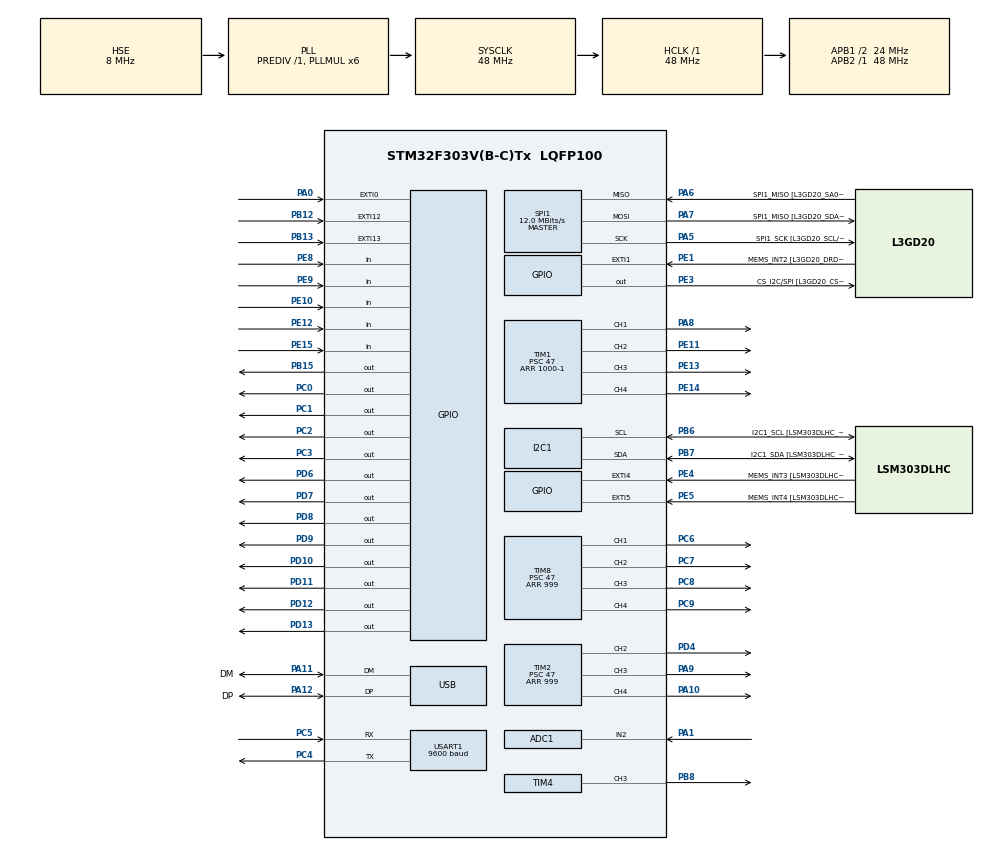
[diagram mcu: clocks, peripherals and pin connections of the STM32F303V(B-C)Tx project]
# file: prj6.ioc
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ADC1.Channel-0\#ChannelRegularConversion=ADC_CHANNEL_2
ADC1.ContinuousConvMode=DISABLE
ADC1.NbrOfConversionFlag=1
ADC1.Offset-0\#ChannelRegularConversion=0
ADC1.OffsetNumber-0\#ChannelRegularConversion=ADC_OFFSET_NONE
ADC1.Rank-0\#ChannelRegularConversion=1
ADC1.SamplingTime-0\#ChannelRegularConversion=ADC_SAMPLETIME_181CYCLES_5
ADC1.SamplingTimeOPAMP-0\#ChannelRegularConversion=ADC_SAMPLETIME_19CYCLES_5
ADC1.master=1
I2C1.Timing-I2C=0x2000090E
Mcu.Family=STM32F3
Mcu.Name=STM32F303V(B-C)Tx
Mcu.Package=LQFP100
NVIC.EXTI0_IRQn=true\:0\:0\:false\:false\:true\:true\:true\:true
NVIC.EXTI15_10_IRQn=true\:0\:0\:false\:false\:true\:true\:true\:true
NVIC.PriorityGroup=NVIC_PRIORITYGROUP_0
NVIC.TIM2_IRQn=true\:0\:0\:false\:false\:true\:true\:true\:true
NVIC.TIM4_IRQn=true\:0\:0\:false\:false\:true\:true\:true\:true
NVIC.TIM7_IRQn=true\:0\:0\:false\:false\:true\:true\:true\:true
NVIC.USART1_IRQn=true\:0\:0\:false\:false\:true\:true\:true\:true
PA0.Signal=GPXTI0
PA1.Mode=IN2-Single-Ended
PA1.Signal=ADC1_IN2
PA10.Signal=S_TIM2_CH4
PA11.GPIO_Label=DM
PA11.Mode=Device
PA11.Signal=USB_DM
PA12.GPIO_Label=DP
PA12.Mode=Device
PA12.Signal=USB_DP
PA13.GPIO_Label=SWDIO
PA13.Mode=Serial_Wire
PA13.Signal=SYS_JTMS-SWDIO
PA14.GPIO_Label=SWCLK
PA14.Mode=Serial_Wire
PA14.Signal=SYS_JTCK-SWCLK
PA5.GPIO_Label=SPI1_SCK [L3GD20_SCL/SPC]
PA5.Mode=Full_Duplex_Master
PA5.Signal=SPI1_SCK
PA6.GPIO_Label=SPI1_MISO [L3GD20_SA0/SDO]
PA6.Mode=Full_Duplex_Master
PA6.Signal=SPI1_MISO
PA7.GPIO_Label=SPI1_MISO [L3GD20_SDA/SDI/SDO]
PA7.Mode=Full_Duplex_Master
PA7.Signal=SPI1_MOSI
PA8.Signal=S_TIM1_CH1
PA9.Signal=S_TIM2_CH3
PB12.GPIO_PuPd=GPIO_PULLDOWN
PB12.Signal=GPXTI12
PB13.GPIO_ModeDefaultEXTI=GPIO_MODE_IT_RISING
PB13.GPIO_PuPd=GPIO_PULLDOWN
PB13.Signal=GPXTI13
PB15.Signal=GPIO_Output
PB3.GPIO_Label=SWO
PB3.Signal=SYS_JTDO-TRACESWO
PB6.GPIO_Label=I2C1_SCL [LSM303DLHC_SCL]
PB6.GPIO_Pu=GPIO_PULLUP
PB6.Mode=I2C
PB6.Signal=I2C1_SCL
PB7.GPIO_Label=I2C1_SDA [LSM303DLHC_SDA]
PB7.GPIO_Pu=GPIO_PULLUP
PB7.Mode=I2C
PB7.Signal=I2C1_SDA
PB8.Signal=S_TIM4_CH3
PC0.Signal=GPIO_Output
PC1.Signal=GPIO_Output
PC14-OSC32_IN.GPIO_Label=OSC32_IN
PC14-OSC32_IN.Signal=RCC_OSC32_IN
PC15-OSC32_OUT.GPIO_Label=OSC32_OUT
PC15-OSC32_OUT.Signal=RCC_OSC32_OUT
PC2.Signal=GPIO_Output
PC3.Signal=GPIO_Output
PC4.Mode=Asynchronous
PC4.Signal=USART1_TX
PC5.Mode=Asynchronous
PC5.Signal=USART1_RX
PC6.Signal=S_TIM8_CH1
PC7.Signal=S_TIM8_CH2
PC8.Signal=S_TIM8_CH3
PC9.Signal=S_TIM8_CH4
PD10.Signal=GPIO_Output
PD11.Signal=GPIO_Output
PD12.Signal=GPIO_Output
PD13.Signal=GPIO_Output
PD4.Signal=S_TIM2_CH2
PD6.Signal=GPIO_Output
PD7.Signal=GPIO_Output
PD8.Signal=GPIO_Output
PD9.Signal=GPIO_Output
PE1.GPIO_Label=MEMS_INT2 [L3GD20_DRDY/INT2]
PE1.GPIO_ModeDefaultEXTI=GPIO_MODE_EVT_RISING
PE1.Signal=GPXTI1
PE10.Signal=GPIO_Input
PE11.Signal=S_TIM1_CH2
PE12.Signal=GPIO_Input
PE13.Signal=S_TIM1_CH3
PE14.Signal=S_TIM1_CH4
PE15.Signal=GPIO_Input
PE3.GPIO_Label=CS_I2C/SPI [L3GD20_CS_I2C/SPI]
PE3.Signal=GPIO_Output
PE4.GPIO_Label=MEMS_INT3 [LSM303DLHC_INT1]
PE4.GPIO_ModeDefaultEXTI=GPIO_MODE_EVT_RISING
PE4.Signal=GPXTI4
PE5.GPIO_Label=MEMS_INT4 [LSM303DLHC_INT2]
PE5.GPIO_ModeDefaultEXTI=GPIO_MODE_EVT_RISING
PE5.Signal=GPXTI5
PE8.Signal=GPIO_Input
PE9.Signal=GPIO_Input
PF0-OSC_IN.GPIO_Label=OSC_IN
PF0-OSC_IN.Mode=HSE-External-Clock-Source
PF0-OSC_IN.Signal=RCC_OSC_IN
PF1-OSC_OUT.GPIO_Label=OSC_OUT
PF1-OSC_OUT.Signal=RCC_OSC_OUT
ProjectManager.HeapSize=0x200
ProjectManager.StackSize=0x400
ProjectManager.TargetToolchain=STM32CubeIDE
RCC.AHBFreq_Value=48000000
RCC.APB1CLKDivider=RCC_HCLK_DIV2
RCC.APB1Freq_Value=24000000
RCC.APB1TimFreq_Value=48000000
RCC.APB2Freq_Value=48000000
RCC.APB2TimFreq_Value=48000000
RCC.CortexFreq_Value=48000000
RCC.HCLKFreq_Value=48000000
RCC.HSE_VALUE=8000000
RCC.HSI_VALUE=8000000
RCC.LSE_VALUE=32768
RCC.PLLMUL=RCC_PLL_MUL6
RCC.SYSCLKFreq_VALUE=48000000
RCC.SYSCLKSourceVirtual=RCC_SYSCLKSOURCE_PLLCLK
RCC.USBFreq_Value=48000000
SH.S_TIM1_CH1.0=TIM1_CH1,PWM Generation1 CH1
SH.S_TIM1_CH2.0=TIM1_CH2,PWM Generation2 CH2
SH.S_TIM1_CH3.0=TIM1_CH3,PWM Generation3 CH3
SH.S_TIM1_CH4.0=TIM1_CH4,PWM Generation4 CH4
SH.S_TIM2_CH2.0=TIM2_CH2,PWM Generation2 CH2
SH.S_TIM2_CH3.0=TIM2_CH3,PWM Generation3 CH3
SH.S_TIM2_CH4.0=TIM2_CH4,PWM Generation4 CH4
SH.S_TIM4_CH3.0=TIM4_CH3,PWM Generation3 CH3
SH.S_TIM8_CH1.0=TIM8_CH1,PWM Generation1 CH1
SH.S_TIM8_CH2.0=TIM8_CH2,PWM Generation2 CH2
SH.S_TIM8_CH3.0=TIM8_CH3,PWM Generation3 CH3
SH.S_TIM8_CH4.0=TIM8_CH4,PWM Generation4 CH4
SPI1.BaudRatePrescaler=SPI_BAUDRATEPRESCALER_4
SPI1.BaudRatePrescaler-Full_Duplex_Master=SPI_BAUDRATEPRESCALER_2
SPI1.CalculateBaudRate=12.0 MBits/s
SPI1.CalculateBaudRate-Full_Duplex_Master=24.0 MBits/s
SPI1.Direction=SPI_DIRECTION_2LINES
SPI1.Mode=SPI_MODE_MASTER
SPI1.Mode-Full_Duplex_Master=SPI_MODE_MASTER
SPI1.VirtualType=VM_MASTER
TIM1.Channel-PWM\ Generation1\ CH1=TIM_CHANNEL_1
TIM1.Channel-PWM\ Generation2\ CH2=TIM_CHANNEL_2
TIM1.Channel-PWM\ Generation3\ CH3=TIM_CHANNEL_3
TIM1.Channel-PWM\ Generation4\ CH4=TIM_CHANNEL_4
TIM1.Period=1000-1
TIM1.Prescaler=47
TIM2.Channel-PWM\ Generation2\ CH2=TIM_CHANNEL_2
TIM2.Channel-PWM\ Generation3\ CH3=TIM_CHANNEL_3
TIM2.Channel-PWM\ Generation4\ CH4=TIM_CHANNEL_4
TIM2.Period=999
TIM2.Prescaler=47
TIM4.Channel-PWM\ Generation3\ CH3=TIM_CHANNEL_3
TIM7.Period=100 -1
TIM7.Prescaler=48 -1
TIM8.Channel-PWM\ Generation1\ CH1=TIM_CHANNEL_1
TIM8.Channel-PWM\ Generation2\ CH2=TIM_CHANNEL_2
TIM8.Channel-PWM\ Generation3\ CH3=TIM_CHANNEL_3
TIM8.Channel-PWM\ Generation4\ CH4=TIM_CHANNEL_4
TIM8.Period=999
TIM8.Prescaler=47
USART1.BaudRate=9600
USART1.VirtualMode-Asynchronous=VM_ASYNC
VP_TIM1_VS_ClockSourceINT.Mode=Internal
VP_TIM2_VS_ClockSourceINT.Mode=Internal
VP_TIM3_VS_ClockSourceINT.Mode=Internal
VP_TIM4_VS_ClockSourceINT.Mode=Internal
VP_TIM7_VS_ClockSourceINT.Mode=Enable_Timer
VP_TIM8_VS_ClockSourceINT.Mode=Internal
board=STM32F3DISCOVERY

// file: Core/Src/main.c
/* USER CODE BEGIN Header */
/**
 ******************************************************************************
 * @file           : main.c
 * @brief          : Main program body
 ******************************************************************************
 * @attention
 *
 * Copyright (c) 2024 STMicroelectronics.
 * All rights reserved.
 *
 * This software is licensed under terms that can be found in the LICENSE file
 * in the root directory of this software component.
 * If no LICENSE file comes with this software, it is provided AS-IS.
 *
 ******************************************************************************
 */
/* USER CODE END Header */
#include "main.h"

/* USER CODE BEGIN Includes */
#include "string.h"
#include "stdio.h"
#include "math.h"

#define SINE_TABLE_SIZE 256
#define PI 3.14159265358979323846

#define NOTE_B0  31
#define NOTE_C1  33
#define NOTE_CS1 35
#define NOTE_D1  37
#define NOTE_DS1 39
#define NOTE_E1  41
#define NOTE_F1  44
#define NOTE_FS1 46
#define NOTE_G1  49
#define NOTE_GS1 52
#define NOTE_A1  55
#define NOTE_AS1 58
#define NOTE_B1  62
#define NOTE_C2  65
#define NOTE_CS2 69
#define NOTE_D2  73
#define NOTE_DS2 78
#define NOTE_E2  82
#define NOTE_F2  87
#define NOTE_FS2 93
#define NOTE_G2  98
#define NOTE_GS2 104
#define NOTE_A2  110
#define NOTE_AS2 117
#define NOTE_B2  123
#define NOTE_C3  131
#define NOTE_CS3 139
#define NOTE_D3  147
#define NOTE_DS3 156
#define NOTE_E3  165
#define NOTE_F3  175
#define NOTE_FS3 185
#define NOTE_G3  196
#define NOTE_GS3 208
#define NOTE_A3  220
#define NOTE_AS3 233
#define NOTE_B3  247
#define NOTE_C4  262
#define NOTE_CS4 277
#define NOTE_D4  294
#define NOTE_DS4 311
#define NOTE_E4  330
#define NOTE_F4  349
#define NOTE_FS4 370
#define NOTE_G4  392
#define NOTE_GS4 415
#define NOTE_A4  440
#define NOTE_AS4 466
#define NOTE_B4  494
#define NOTE_C5  523
#define NOTE_CS5 554
#define NOTE_D5  587
#define NOTE_DS5 622
#define NOTE_E5  659
#define NOTE_F5  698
#define NOTE_FS5 740
#define NOTE_G5  784
#define NOTE_GS5 831
#define NOTE_A5  880
#define NOTE_AS5 932
#define NOTE_B5  988
#define NOTE_C6  1047
#define NOTE_CS6 1109
#define NOTE_D6  1175
#define NOTE_DS6 1245
#define NOTE_E6  1319
#define NOTE_F6  1397
#define NOTE_FS6 1480
#define NOTE_G6  1568
#define NOTE_GS6 1661
#define NOTE_A6  1760
#define NOTE_AS6 1865
#define NOTE_B6  1976
#define NOTE_C7  2093
#define NOTE_CS7 2217
#define NOTE_D7  2349
#define NOTE_DS7 2489
#define NOTE_E7  2637
#define NOTE_F7  2794
#define NOTE_FS7 2960
#define NOTE_G7  3136
#define NOTE_GS7 3322
#define NOTE_A7  3520
#define NOTE_AS7 3729
#define NOTE_B7  3951
#define NOTE_C8  4186
#define NOTE_CS8 4435
#define NOTE_D8  4699
#define NOTE_DS8 4978
#define REST      0

// happy birthday
#define NOTE_B0  31
#define NOTE_C1  33
#define NOTE_CS1 35
#define NOTE_D1  37
#define NOTE_DS1 39
#define NOTE_E1  41
#define NOTE_F1  44
#define NOTE_FS1 46
#define NOTE_G1  49
#define NOTE_GS1 52
#define NOTE_A1  55
#define NOTE_AS1 58
#define NOTE_B1  62
#define NOTE_C2  65
#define NOTE_CS2 69
#define NOTE_D2  73
#define NOTE_DS2 78
#define NOTE_E2  82
#define NOTE_F2  87
#define NOTE_FS2 93
#define NOTE_G2  98
#define NOTE_GS2 104
#define NOTE_A2  110
#define NOTE_AS2 117
#define NOTE_B2  123
#define NOTE_C3  131
#define NOTE_CS3 139
#define NOTE_D3  147
#define NOTE_DS3 156
#define NOTE_E3  165
#define NOTE_F3  175
#define NOTE_FS3 185
#define NOTE_G3  196
#define NOTE_GS3 208
#define NOTE_A3  220
#define NOTE_AS3 233
#define NOTE_B3  247
#define NOTE_C4  262
#define NOTE_CS4 277
#define NOTE_D4  294
#define NOTE_DS4 311
#define NOTE_E4  330
#define NOTE_F4  349
#define NOTE_FS4 370
#define NOTE_G4  392
#define NOTE_GS4 415
#define NOTE_A4  440
#define NOTE_AS4 466
#define NOTE_B4  494
#define NOTE_C5  523
#define NOTE_CS5 554
#define NOTE_D5  587
#define NOTE_DS5 622
#define NOTE_E5  659
#define NOTE_F5  698
#define NOTE_FS5 740
#define NOTE_G5  784
#define NOTE_GS5 831
#define NOTE_A5  880
#define NOTE_AS5 932
#define NOTE_B5  988
#define NOTE_C6  1047
#define NOTE_CS6 1109
#define NOTE_D6  1175
#define NOTE_DS6 1245
#define NOTE_E6  1319
#define NOTE_F6  1397
#define NOTE_FS6 1480
#define NOTE_G6  1568
#define NOTE_GS6 1661
#define NOTE_A6  1760
#define NOTE_AS6 1865
#define NOTE_B6  1976
#define NOTE_C7  2093
#define NOTE_CS7 2217
#define NOTE_D7  2349
#define NOTE_DS7 2489
#define NOTE_E7  2637
#define NOTE_F7  2794
#define NOTE_FS7 2960
#define NOTE_G7  3136
#define NOTE_GS7 3322
#define NOTE_A7  3520
#define NOTE_AS7 3729
#define NOTE_B7  3951
#define NOTE_C8  4186
#define NOTE_CS8 4435
#define NOTE_D8  4699
#define NOTE_DS8 4978
#define REST      0

/* USER CODE END Includes */

ADC_HandleTypeDef hadc1;

I2C_HandleTypeDef hi2c1;

SPI_HandleTypeDef hspi1;

TIM_HandleTypeDef htim1;
TIM_HandleTypeDef htim2;
TIM_HandleTypeDef htim3;
TIM_HandleTypeDef htim4;
TIM_HandleTypeDef htim7;
TIM_HandleTypeDef htim8;

UART_HandleTypeDef huart1;

PCD_HandleTypeDef hpcd_USB_FS;

void SystemClock_Config(void);
static void MX_GPIO_Init(void);
static void MX_I2C1_Init(void);
static void MX_SPI1_Init(void);
static void MX_USB_PCD_Init(void);
static void MX_USART1_UART_Init(void);
static void MX_TIM1_Init(void);
static void MX_TIM7_Init(void);
static void MX_TIM3_Init(void);
static void MX_ADC1_Init(void);
static void MX_TIM8_Init(void);
static void MX_TIM2_Init(void);
static void MX_TIM4_Init(void);

/* USER CODE BEGIN 0 */
void off() {
	HAL_GPIO_WritePin(GPIOC, GPIO_PIN_0, SET);
	HAL_GPIO_WritePin(GPIOC, GPIO_PIN_3, SET);
	HAL_GPIO_WritePin(GPIOD, GPIO_PIN_7, SET);
	HAL_GPIO_WritePin(GPIOD, GPIO_PIN_6, SET);

	HAL_GPIO_WritePin(GPIOC, GPIO_PIN_1, RESET);
	HAL_GPIO_WritePin(GPIOC, GPIO_PIN_2, RESET);
	HAL_GPIO_WritePin(GPIOD, GPIO_PIN_8, RESET);
	HAL_GPIO_WritePin(GPIOD, GPIO_PIN_9, RESET);

}

void show_0() {
	HAL_GPIO_WritePin(GPIOD, GPIO_PIN_8, RESET);
	HAL_GPIO_WritePin(GPIOD, GPIO_PIN_9, RESET);
	HAL_GPIO_WritePin(GPIOC, GPIO_PIN_1, RESET);
	HAL_GPIO_WritePin(GPIOC, GPIO_PIN_2, RESET);

}
void show_1() {
	HAL_GPIO_WritePin(GPIOD, GPIO_PIN_8, RESET);
	HAL_GPIO_WritePin(GPIOD, GPIO_PIN_9, RESET);
	HAL_GPIO_WritePin(GPIOC, GPIO_PIN_1, SET);
	HAL_GPIO_WritePin(GPIOC, GPIO_PIN_2, RESET);
}
void show_2() {
	HAL_GPIO_WritePin(GPIOD, GPIO_PIN_8, SET);
	HAL_GPIO_WritePin(GPIOD, GPIO_PIN_9, RESET);
	HAL_GPIO_WritePin(GPIOC, GPIO_PIN_1, RESET);
	HAL_GPIO_WritePin(GPIOC, GPIO_PIN_2, RESET);
}
void show_3() {
	HAL_GPIO_WritePin(GPIOD, GPIO_PIN_8, SET);
	HAL_GPIO_WritePin(GPIOD, GPIO_PIN_9, RESET);
	HAL_GPIO_WritePin(GPIOC, GPIO_PIN_1, SET);
	HAL_GPIO_WritePin(GPIOC, GPIO_PIN_2, RESET);

}
void show_4() {
	HAL_GPIO_WritePin(GPIOD, GPIO_PIN_8, RESET);
	HAL_GPIO_WritePin(GPIOD, GPIO_PIN_9, SET);
	HAL_GPIO_WritePin(GPIOC, GPIO_PIN_1, RESET);
	HAL_GPIO_WritePin(GPIOC, GPIO_PIN_2, RESET);
}
void show_5() {
	HAL_GPIO_WritePin(GPIOD, GPIO_PIN_8, RESET);
	HAL_GPIO_WritePin(GPIOD, GPIO_PIN_9, SET);
	HAL_GPIO_WritePin(GPIOC, GPIO_PIN_1, SET);
	HAL_GPIO_WritePin(GPIOC, GPIO_PIN_2, RESET);
}
void show_6() {
	HAL_GPIO_WritePin(GPIOD, GPIO_PIN_8, SET);
	HAL_GPIO_WritePin(GPIOD, GPIO_PIN_9, SET);
	HAL_GPIO_WritePin(GPIOC, GPIO_PIN_1, RESET);
	HAL_GPIO_WritePin(GPIOC, GPIO_PIN_2, RESET);
}
void show_7() {
	HAL_GPIO_WritePin(GPIOD, GPIO_PIN_8, SET);
	HAL_GPIO_WritePin(GPIOD, GPIO_PIN_9, SET);
	HAL_GPIO_WritePin(GPIOC, GPIO_PIN_1, SET);
	HAL_GPIO_WritePin(GPIOC, GPIO_PIN_2, RESET);
}
void show_8() {
	HAL_GPIO_WritePin(GPIOD, GPIO_PIN_8, RESET);
	HAL_GPIO_WritePin(GPIOD, GPIO_PIN_9, RESET);
	HAL_GPIO_WritePin(GPIOC, GPIO_PIN_1, RESET);
	HAL_GPIO_WritePin(GPIOC, GPIO_PIN_2, SET);
}
void show_9() {
	HAL_GPIO_WritePin(GPIOD, GPIO_PIN_8, RESET);
	HAL_GPIO_WritePin(GPIOD, GPIO_PIN_9, RESET);
	HAL_GPIO_WritePin(GPIOC, GPIO_PIN_1, SET);
	HAL_GPIO_WritePin(GPIOC, GPIO_PIN_2, SET);
}
void reset() {
	off();
	HAL_GPIO_WritePin(GPIOC, GPIO_PIN_0, RESET);
	show_0();
	HAL_GPIO_WritePin(GPIOC, GPIO_PIN_3, RESET);
	show_0();
	HAL_GPIO_WritePin(GPIOD, GPIO_PIN_6, RESET);
	show_0();
	HAL_GPIO_WritePin(GPIOD, GPIO_PIN_7, RESET);
	show_0();
}

void led_off() {
	TIM1->CCR2 = 0;
	TIM1->CCR3 = 0;
	TIM2->CCR2 = 0;
	TIM8->CCR4 = 0;
	TIM8->CCR1 = 0;
	TIM8->CCR2 = 0;
	TIM8->CCR3 = 0;
	TIM1->CCR4 = 0;
	TIM2->CCR4 = 0;
	TIM2->CCR3 = 0;
	TIM1->CCR1 = 0;
}
typedef void (*func_ptr)();
func_ptr functionArray[10] = { show_0, show_1, show_2, show_3, show_4, show_5,
		show_6, show_7, show_8, show_9 };
int mood_g = 0;

int melody[] = {
NOTE_AS4, 8, NOTE_AS4, 8, NOTE_AS4,
		8, //1
		NOTE_F5, 2, NOTE_C6, 2,
		NOTE_AS5, 8, NOTE_A5, 8, NOTE_G5, 8, NOTE_F6, 2, NOTE_C6, 4,
		NOTE_AS5, 8, NOTE_A5, 8, NOTE_G5, 8, NOTE_F6, 2, NOTE_C6, 4,
		NOTE_AS5, 8, NOTE_A5, 8, NOTE_AS5, 8, NOTE_G5, 2, NOTE_C5, 8, NOTE_C5,
		8, NOTE_C5, 8,
		NOTE_F5, 2, NOTE_C6, 2,
		NOTE_AS5, 8, NOTE_A5, 8, NOTE_G5, 8, NOTE_F6, 2, NOTE_C6, 4,

		NOTE_AS5, 8, NOTE_A5, 8, NOTE_G5, 8, NOTE_F6, 2, NOTE_C6,
		4, //8
		NOTE_AS5, 8, NOTE_A5, 8, NOTE_AS5, 8, NOTE_G5, 2, NOTE_C5, -8, NOTE_C5,
		16,
		NOTE_D5, -4, NOTE_D5, 8, NOTE_AS5, 8, NOTE_A5, 8, NOTE_G5, 8, NOTE_F5,
		8,
		NOTE_F5, 8, NOTE_G5, 8, NOTE_A5, 8, NOTE_G5, 4, NOTE_D5, 8, NOTE_E5, 4,
		NOTE_C5, -8, NOTE_C5, 16,
		NOTE_D5, -4, NOTE_D5, 8, NOTE_AS5, 8, NOTE_A5, 8, NOTE_G5, 8, NOTE_F5,
		8,

		NOTE_C6, -8,
		NOTE_G5, 16,
		NOTE_G5, 2,
		REST, 8,
		NOTE_C5, 8,
		NOTE_D5, -4, NOTE_D5, 8, NOTE_AS5, 8, NOTE_A5, 8, NOTE_G5, 8, NOTE_F5,
		8,
		NOTE_F5, 8, NOTE_G5, 8, NOTE_A5, 8, NOTE_G5, 4, NOTE_D5, 8, NOTE_E5, 4,
		NOTE_C6, -8, NOTE_C6, 16,
		NOTE_F6, 4, NOTE_DS6, 8, NOTE_CS6, 4, NOTE_C6, 8, NOTE_AS5, 4, NOTE_GS5,
		8, NOTE_G5, 4, NOTE_F5, 8,
		NOTE_C6, 1

};
int noteDurations[] = { 500, 500, 500, 1000, 1000, 500, 500, 500, 1000, 500,
		500, 500, 500, 1000, 500, 500, 500, 500, 1000, 500, 500, 500, 1000,
		1000, 500, 500, 500, 1000, 500, 500, 500, 500, 1000, 500, 500, 500, 500,
		1000, 500, 500, 750, 500, 500, 500, 500, 500, 500, 500, 500, 500, 500,
		500, 750, 500, 750, 500, 500, 500, 500, 500, 1500, 500, 500, 250, 500,
		750, 500, 500, 500, 500, 500, 500, 500, 500, 500, 500, 500, 750, 500,
		1000, 500, 500, 500, 500, 500, 500, 500, 2000 };

void playTone(uint16_t frequency, uint32_t duration) {
	uint32_t period = HAL_RCC_GetPCLK1Freq() / (htim4.Init.Prescaler + 1)
			/ frequency - 1;
	__HAL_TIM_SET_AUTORELOAD(&htim4, period);
	__HAL_TIM_SET_COMPARE(&htim4, TIM_CHANNEL_3, period / 2);
	uint32_t startTick = HAL_GetTick();
	while ((HAL_GetTick() - startTick) < duration * 0.9) { // Wait for 90% of the duration
	}
	__HAL_TIM_SET_COMPARE(&htim4, TIM_CHANNEL_3, 0); // Turn off the sound
	startTick = HAL_GetTick();
	while ((HAL_GetTick() - startTick) < duration * 0.1) {
		// Short delay between notes

	}
}

// happy birth day
int melody_2[] = {

// Happy Birthday
// Score available at https://musescore.com/user/8221/scores/26906

		NOTE_C4, 4, NOTE_C4, 8,
		NOTE_D4, -4, NOTE_C4, -4, NOTE_F4, -4,
		NOTE_E4, -2, NOTE_C4, 4, NOTE_C4, 8,
		NOTE_D4, -4, NOTE_C4, -4, NOTE_G4, -4,
		NOTE_F4, -2, NOTE_C4, 4, NOTE_C4, 8,

		NOTE_C5, -4, NOTE_A4, -4, NOTE_F4, -4,
		NOTE_E4, -4, NOTE_D4, -4, NOTE_AS4, 4, NOTE_AS4, 8,
		NOTE_A4, -4, NOTE_F4, -4, NOTE_G4, -4,
		NOTE_F4, -2,

};

int noteDurations_2[] = { 250, 125, 375, 375, 375, 750, 250, 125, 375, 375, 375,
		750, 250, 125, 375, 375, 375, 375, 375, 250, 125, 375, 375, 375, 1500 };

void playTone_2(uint16_t frequency, uint32_t duration) {
	uint32_t period = HAL_RCC_GetPCLK1Freq() / (htim4.Init.Prescaler + 1)
			/ frequency - 1;
	__HAL_TIM_SET_AUTORELOAD(&htim4, period);
	__HAL_TIM_SET_COMPARE(&htim4, TIM_CHANNEL_3, period / 2);

	uint32_t startTick = HAL_GetTick();

	while ((HAL_GetTick() - startTick) < (duration * 0.9)) {

	}

	__HAL_TIM_SET_COMPARE(&htim4, TIM_CHANNEL_3, 0);

	startTick = HAL_GetTick();

	while ((HAL_GetTick() - startTick) < (duration * 0.1)) {

	}
}

char username[6];
int password[4];
int T_G[4];
int t_g = 0;
int D_G[4];
int d_g = 0;
int security_check = 0;

void get_user() {
	char user2[6];
	HAL_UART_Transmit(&huart1, "\nusername : ", strlen("\nusername : "),
	HAL_MAX_DELAY);
	HAL_UART_Receive(&huart1, user2, 6, HAL_MAX_DELAY);
	strcpy(username, user2);
	HAL_UART_Transmit(&huart1, username, 6, HAL_MAX_DELAY);
	if (username[0] == 'm') {
		HAL_UART_Transmit(&huart1, 'm', 1, HAL_MAX_DELAY);
	}
}

void get_pass() {
	char pass2[4];
	HAL_UART_Transmit(&huart1, "\npassword : ", strlen("\npassword : "),
	HAL_MAX_DELAY);
	HAL_UART_Receive(&huart1, pass2, 4, HAL_MAX_DELAY);
	for (int i = 0; i < 4; i++) {
		password[i] = pass2[i] - '0';
	}
	if (password[0] == 1) {
		HAL_UART_Transmit(&huart1, "hi", strlen("hi"), HAL_MAX_DELAY);
	}

}
void get_T_D() {
	char t1[4];
	char d1[4];
	HAL_UART_Transmit(&huart1, "\nT : ", strlen("\nT : "), HAL_MAX_DELAY);
	HAL_UART_Receive(&huart1, t1, 4, HAL_MAX_DELAY);
	for (int i = 0; i < 4; i++) {
		T_G[i] = t1[i] - '0';
		t_g = T_G[i] * pow(10, (3 - i)) + t_g;

	}
	if (T_G[0] == 2) {
		HAL_UART_Transmit(&huart1, "heyy", strlen("heyy"), HAL_MAX_DELAY);
	}
	HAL_UART_Transmit(&huart1, "\nD : ", strlen("\nD : "), HAL_MAX_DELAY);
	HAL_UART_Receive(&huart1, d1, 4, HAL_MAX_DELAY);
	for (int i = 0; i < 4; i++) {
		D_G[i] = d1[i] - '0';
		d_g = D_G[i] * pow(10, (3 - i)) + d_g;

	}
	if (D_G[0] == 3) {
		HAL_UART_Transmit(&huart1, "noice", strlen("noice"), HAL_MAX_DELAY);
	}
}
void check_user() {
	char user2[6];
	char user_check[6];
	int j = 0;
	HAL_UART_Transmit(&huart1, "\nusername : ", strlen("\nusername : "),
	HAL_MAX_DELAY);
	HAL_UART_Receive(&huart1, user2, 6, HAL_MAX_DELAY);
	strcpy(user_check, user2);
	for (int i = 0; i < 6; i++) {
		if (user_check[i] != username[i]) {
			HAL_UART_Transmit(&huart1, "\nwrong username! ",
					strlen("\nwrong username! "),
					HAL_MAX_DELAY);
			j = -1;
			break;
		} else {
			j++;
		}

	}
	if (j == -1) {
		check_user();
	} else if (j == 6) {
		HAL_UART_Transmit(&huart1, "\nWelcom ", strlen("\nWelcom "),
		HAL_MAX_DELAY);
		security_check++;
	}
}

void check_pass() {
	char pass2[4];
	char pass_check[4];
	int j = 0;
	HAL_UART_Transmit(&huart1, "\npassword : ", strlen("\npassword : "),
	HAL_MAX_DELAY);
	HAL_UART_Receive(&huart1, pass2, 4, HAL_MAX_DELAY);
	for (int i = 0; i < 4; i++) {
		pass_check[i] = pass2[i] - '0';
	}
	for (int i = 0; i < 4; i++) {
		if (pass_check[i] != password[i]) {
			HAL_UART_Transmit(&huart1, "\nwrong password ",
					strlen("\nwrong password "),
					HAL_MAX_DELAY);
			j = -1;
			break;
		} else {

			j++;
		}
	}
	if (j == -1) {
		check_pass();
	} else if (j == 4) {
		HAL_UART_Transmit(&huart1, "\nWelcome ", strlen("\nWelcome "),
		HAL_MAX_DELAY);
		security_check++;

	}

}

TIM_HandleTypeDef *buzzerPwmTimer;
uint32_t buzzerPwmChannel;

void buzzerInit() {
	buzzerPwmTimer = &htim4;
	buzzerPwmChannel = TIM_CHANNEL_3;
	HAL_TIM_PWM_Start(buzzerPwmTimer, buzzerPwmChannel);
}

void buzzerChangeTone(uint16_t freq, uint16_t volume) {
	if (freq == 0 || freq > 20000) {
		__HAL_TIM_SET_COMPARE(buzzerPwmTimer, buzzerPwmChannel, 0);
	} else {
		const uint32_t internalClockFreq = HAL_RCC_GetSysClockFreq();
		const uint32_t prescaler = 1 + internalClockFreq / freq / 60000;
		const uint32_t timerClock = internalClockFreq / prescaler;
		const uint32_t periodCycles = timerClock / freq;
		const uint32_t pulseWidth = volume * periodCycles / 1000 / 2;

		buzzerPwmTimer->Instance->PSC = prescaler - 1;
		buzzerPwmTimer->Instance->ARR = periodCycles - 1;
		buzzerPwmTimer->Instance->EGR = TIM_EGR_UG;

		__HAL_TIM_SET_COMPARE(buzzerPwmTimer, buzzerPwmChannel, pulseWidth);
	}
}

TIM_HandleTypeDef htim4;
uint32_t period = 0;

void initTimerPWM(void) {
	__HAL_RCC_TIM1_CLK_ENABLE();

	htim4.Instance = TIM4;
	htim4.Init.Prescaler = 79; // Adjust prescaler as needed
	htim4.Init.CounterMode = TIM_COUNTERMODE_UP;
	htim4.Init.Period = period; // Initial period value
	htim4.Init.ClockDivision = TIM_CLOCKDIVISION_DIV1;
	htim4.Init.RepetitionCounter = 0;
	HAL_TIM_PWM_Init(&htim4);

	TIM_OC_InitTypeDef sConfigOC;
	sConfigOC.OCMode = TIM_OCMODE_PWM1;
	sConfigOC.Pulse = period / 2; // Initial pulse value
	sConfigOC.OCPolarity = TIM_OCPOLARITY_HIGH;
	sConfigOC.OCFastMode = TIM_OCFAST_DISABLE;
	HAL_TIM_PWM_ConfigChannel(&htim4, &sConfigOC, TIM_CHANNEL_3);

	HAL_TIM_PWM_Start(&htim4, TIM_CHANNEL_3);
}
void HAL_TIM_PeriodElapsedCallback(TIM_HandleTypeDef *htim) {
	if (htim->Instance == TIM4) {
		static uint8_t direction = 0;
		if (direction == 0) {
			period += 10; // Increase frequency
			if (period > 1000)
				direction = 1;
		} else {
			period -= 10; // Decrease frequency
			if (period < 500)
				direction = 0;
		}
		__HAL_TIM_SET_AUTORELOAD(&htim4, period);
		__HAL_TIM_SET_COMPARE(&htim4, TIM_CHANNEL_3, period / 2);
	}
}

char c_mood[14];
char check_u[20];
char pass_u[4];
int s;
int illegal = 0;
int music = 0;
int first_mood1 = 0;
int first_mood2 = 0;
int first_mood3 = 0;
int stop_flag = 0 ;

void HAL_UART_RxCpltCallback(UART_HandleTypeDef *huart) {
	if (huart->Instance == USART1) {

		if (mood_g == 1) {
			HAL_UART_Transmit(huart, "ok\n", strlen("ok\n"),
			HAL_MAX_DELAY);
			mood_g = c_mood[12] - '0';

		}
		if (mood_g == 2) {
			if (illegal == 0) {
				HAL_UART_Transmit(huart, "ok\n", strlen("ok\n"),
				HAL_MAX_DELAY);
				mood_g = c_mood[12] - '0';

			}

		}
		if (mood_g == 3) {
			first_mood3++;
			if (first_mood3 > 1) {
				HAL_UART_Transmit(huart, "no shit \n", strlen("no shit \n"),
				HAL_MAX_DELAY);
				char c_mood_2[14];
				strcpy(c_mood_2, c_mood);
				if (c_mood_2[7] == 'm') {
					HAL_UART_Transmit(huart, "nice shit \n",
							strlen("nice shit \n"), HAL_MAX_DELAY);
					mood_g = c_mood[12] - '0';
				}
				if (c_mood_2[7] == 'n') {
					HAL_UART_Transmit(huart, "nice job \n",
							strlen("nice job \n"), HAL_MAX_DELAY);
					music = c_mood[12] - '0';

					stop_flag = 0 ;
				}

			}

		}

	}
}

void song2() {
	initTimerPWM();
	int notes = sizeof(melody_2) / sizeof(melody_2[0]);
	for (int thisNote = 0; thisNote < notes; thisNote++) {
		uint16_t note = melody_2[thisNote];
		uint32_t duration = noteDurations_2[thisNote];
		if (note != REST) {
			playTone(note, duration);
		} else {
			HAL_Delay(duration);
		}

	}

}

uint32_t lastBut_13 = 0;
int mood_13 = 0;
uint32_t lastBut_12 = 0;
int mood_12 = 0;
uint32_t lastBut_0 = 0;
int mood_0 = 0;
uint32_t last_blue = 0;

int sum_LED = 0;
int on_led[3];
void HAL_GPIO_EXTI_Callback(uint16_t GPIO_Pin) {
	if (mood_g == 1) {
		if (GPIO_Pin == GPIO_PIN_0) {
			if (HAL_GPIO_ReadPin(GPIOB, GPIO_PIN_0) == GPIO_PIN_SET) {
				if (HAL_GetTick() - lastBut_0 > 400) {
					if (mood_0 % 3 == 0) {
						TIM2->CCR4 = 0;
						on_led[0] = 0;
					}
					if (mood_0 % 3 == 1) {
						TIM2->CCR4 = 200;
						on_led[0] = 1;
					}
					if (mood_0 % 3 == 2) {
						TIM2->CCR4 = 1000;
						on_led[0] = 1;
					}
					lastBut_0 = HAL_GetTick();
					mood_0++;
				}
			}
		}

		if (GPIO_Pin == GPIO_PIN_13) {

			if (HAL_GPIO_ReadPin(GPIOB, GPIO_PIN_13) == GPIO_PIN_SET) {
				if (HAL_GetTick() - lastBut_13 > 400) {
					if (mood_13 % 3 == 0) {
						TIM2->CCR3 = 0;
						on_led[1] = 0;
					}
					if (mood_13 % 3 == 1) {
						TIM2->CCR3 = 200;
						on_led[1] = 1;
					}
					if (mood_13 % 3 == 2) {
						TIM2->CCR3 = 1000;
						on_led[1] = 1;
					}
					lastBut_13 = HAL_GetTick();
					mood_13++;

				}

			}
		}

		if (GPIO_Pin == GPIO_PIN_12) {
			if (HAL_GPIO_ReadPin(GPIOB, GPIO_PIN_12) == GPIO_PIN_SET) {
				if (HAL_GetTick() - lastBut_12 > 400) {
					if (mood_12 % 3 == 0) {
						TIM1->CCR1 = 0;
						on_led[2] = 0;
					}
					if (mood_12 % 3 == 1) {
						TIM1->CCR1 = 200;
						on_led[2] = 1;
					}
					if (mood_12 % 3 == 2) {
						TIM1->CCR1 = 1000;
						on_led[2] = 1;
					}
					lastBut_12 = HAL_GetTick();
					mood_12++;
				}

			}
		}
		sum_LED = on_led[0] + on_led[1] + on_led[2];
	}
	if (mood_g == 2) {
		if (GPIO_Pin == GPIO_PIN_13) {
			if (HAL_GPIO_ReadPin(GPIOB, GPIO_PIN_13) == GPIO_PIN_SET) {
				if (HAL_GetTick() - last_blue > 400) {
					illegal = 1;
					TIM1->CCR3 = 1000;
					last_blue = HAL_GetTick();
				}
			}
		}

	}
}

/* USER CODE END 0 */

int main(void) {

	/* MCU Configuration--------------------------------------------------------*/

	/* Reset of all peripherals, Initializes the Flash interface and the Systick. */
	HAL_Init();

	/* Configure the system clock */
	SystemClock_Config();

	/* Initialize all configured peripherals */
	MX_GPIO_Init();
	MX_I2C1_Init();
	MX_SPI1_Init();
	MX_USB_PCD_Init();
	MX_USART1_UART_Init();
	MX_TIM1_Init();
	MX_TIM7_Init();
	MX_TIM3_Init();
	MX_ADC1_Init();
	MX_TIM8_Init();
	MX_TIM2_Init();
	MX_TIM4_Init();

	/* Infinite loop */
	/* USER CODE BEGIN WHILE */
	/*
	 */

	HAL_TIM_Base_Start_IT(&htim7);
	HAL_ADC_Start(&hadc1);
	HAL_TIM_PWM_Start(&htim1, TIM_CHANNEL_1);	// PA 8  external red
	HAL_TIM_PWM_Start(&htim2, TIM_CHANNEL_3);	// PA 9  external yellow
	HAL_TIM_PWM_Start(&htim2, TIM_CHANNEL_4);	// PA 10 external green
	HAL_TIM_PWM_Start(&htim1, TIM_CHANNEL_2);	// PE 11
	HAL_TIM_PWM_Start(&htim1, TIM_CHANNEL_3);	// PE 13
	HAL_TIM_PWM_Start(&htim1, TIM_CHANNEL_4);	// PE 14
	HAL_TIM_PWM_Start(&htim8, TIM_CHANNEL_1);	// PE 8
	HAL_TIM_PWM_Start(&htim8, TIM_CHANNEL_2);	// PE 10
	HAL_TIM_PWM_Start(&htim8, TIM_CHANNEL_3);	// PE 12
	HAL_TIM_PWM_Start(&htim8, TIM_CHANNEL_4);	// PE 15
	HAL_TIM_PWM_Start(&htim2, TIM_CHANNEL_2);	// PE 9

	int i = 0;
	uint32_t dance_t = 0;

	uint32_t last_update = 0;
	int j = 0;

	int thisNote_2 = 0;
	uint32_t start_d = 0;
	int notes_2 = sizeof(melody_2) / sizeof(melody_2[0]);

	if (mood_g == 0) {
		get_user();
		get_pass();
		get_T_D();
		mood_g = 1;
	}

	while (1) {
		HAL_GPIO_WritePin(GPIOC, GPIO_PIN_0, RESET);
		functionArray[mood_g]();
		HAL_Delay(3);
		off();

		if (mood_g == 1) {
			HAL_UART_Receive_IT(&huart1, c_mood, 14);
			HAL_GPIO_WritePin(GPIOC, GPIO_PIN_3, RESET);
			functionArray[sum_LED]();
			HAL_Delay(3);
			off();
			if (HAL_GetTick() - last_update > t_g) {
				HAL_ADC_Start(&hadc1);
				HAL_ADC_PollForConversion(&hadc1, HAL_MAX_DELAY);
				uint32_t val = HAL_ADC_GetValue(&hadc1);
				char str[20];
				sprintf(str, "%lu\n", val);
				HAL_UART_Transmit(&huart1, str, strlen(str),
				HAL_MAX_DELAY);
				last_update = HAL_GetTick();
			}
		}
		if (mood_g == 2) {

			if (illegal == 1) {

				HAL_Init();
				initTimerPWM();
				HAL_TIM_Base_Start_IT(&htim4);

				if (j == 0) {
					HAL_UART_Transmit(&huart1, "Unauthorized entry !! \n",
							strlen("Unauthorized entry !! \n"),
							HAL_MAX_DELAY);
					check_user();
					check_pass();
					if (security_check == 2) {
						illegal = 0;
					}
					j++;
				}
			} else if (illegal == 0) {
				HAL_TIM_Base_Stop_IT(&htim4);
				HAL_TIM_PWM_Stop(&htim4, TIM_CHANNEL_3);
				TIM1->CCR3 = 0;
				j = 0;
			}

		}
		if (mood_g == 3) {
			if (music == 0) {
				start_d = HAL_GetTick();

				music = 2;
			}
			if (music == 1) {
				initTimerPWM();
				int notes = sizeof(melody) / sizeof(melody[0]);

				for (int thisNote = 0; thisNote < notes; thisNote++) {
					HAL_UART_Receive_IT(&huart1, c_mood, 14);

					uint16_t note = melody[thisNote];
					uint32_t duration = noteDurations[thisNote];
					if (note != REST) {
						playTone(note, duration);
					} else {
						HAL_Delay(duration);
					}
					if (i % 2 == 0) {
						led_off();
						TIM1->CCR2 = 1000;
						TIM1->CCR3 = 1000;
						TIM2->CCR2 = 1000;
						TIM8->CCR4 = 1000;

					} else {
						led_off();
						TIM8->CCR1 = 1000;
						TIM8->CCR2 = 1000;
						TIM8->CCR3 = 1000;
						TIM1->CCR4 = 1000;
					}
					if (HAL_GetTick() - dance_t > 1000) {
						i++;
						dance_t = HAL_GetTick();
					}
				}
			}
			if (music == 2) {
				if (stop_flag != 1) {
					initTimerPWM();
				}

				//for (int thisNote = 0; thisNote < notes; thisNote++) {
				HAL_UART_Receive_IT(&huart1, c_mood, 14);

				uint16_t note = melody_2[thisNote_2];
				uint32_t duration = noteDurations_2[thisNote_2];
				if (note != REST) {
					playTone_2(note, duration);
					thisNote_2++;
				} else {
					HAL_Delay(duration);
				}
				if ((HAL_GetTick() - start_d < d_g)
						&& (thisNote_2 == notes_2)) {
					thisNote_2 = 0;
				} else if (HAL_GetTick() - start_d >= d_g) {
					HAL_UART_Transmit(&huart1, "ok", strlen("ok"),
							HAL_MAX_DELAY);
					HAL_TIM_Base_Stop_IT(&htim4);
					HAL_TIM_PWM_Stop(&htim4, TIM_CHANNEL_3);
					stop_flag = 1;
				}

				if (i % 2 == 0) {
					led_off();
					TIM1->CCR2 = 500;
					TIM1->CCR3 = 1000;
					TIM2->CCR2 = 500;
					TIM8->CCR4 = 1000;

				} else {
					led_off();
					TIM8->CCR1 = 500;
					TIM8->CCR2 = 500;
					TIM8->CCR3 = 1000;
					TIM1->CCR4 = 1000;
				}
				if (HAL_GetTick() - dance_t > 1000) {
					i++;
					dance_t = HAL_GetTick();
				}
				//}
			}
		}

		/* USER CODE END WHILE */

	}
}

void SystemClock_Config(void) {
	RCC_OscInitTypeDef RCC_OscInitStruct = { 0 };
	RCC_ClkInitTypeDef RCC_ClkInitStruct = { 0 };
	RCC_PeriphCLKInitTypeDef PeriphClkInit = { 0 };

	/** Initializes the RCC Oscillators according to the specified parameters
	 * in the RCC_OscInitTypeDef structure.
	 */
	RCC_OscInitStruct.OscillatorType = RCC_OSCILLATORTYPE_HSI
			| RCC_OSCILLATORTYPE_HSE;
	RCC_OscInitStruct.HSEState = RCC_HSE_BYPASS;
	RCC_OscInitStruct.HSEPredivValue = RCC_HSE_PREDIV_DIV1;
	RCC_OscInitStruct.HSIState = RCC_HSI_ON;
	RCC_OscInitStruct.HSICalibrationValue = RCC_HSICALIBRATION_DEFAULT;
	RCC_OscInitStruct.PLL.PLLState = RCC_PLL_ON;
	RCC_OscInitStruct.PLL.PLLSource = RCC_PLLSOURCE_HSE;
	RCC_OscInitStruct.PLL.PLLMUL = RCC_PLL_MUL6;
	if (HAL_RCC_OscConfig(&RCC_OscInitStruct) != HAL_OK) {
		Error_Handler();
	}

	/** Initializes the CPU, AHB and APB buses clocks
	 */
	RCC_ClkInitStruct.ClockType = RCC_CLOCKTYPE_HCLK | RCC_CLOCKTYPE_SYSCLK
			| RCC_CLOCKTYPE_PCLK1 | RCC_CLOCKTYPE_PCLK2;
	RCC_ClkInitStruct.SYSCLKSource = RCC_SYSCLKSOURCE_PLLCLK;
	RCC_ClkInitStruct.AHBCLKDivider = RCC_SYSCLK_DIV1;
	RCC_ClkInitStruct.APB1CLKDivider = RCC_HCLK_DIV2;
	RCC_ClkInitStruct.APB2CLKDivider = RCC_HCLK_DIV1;

	if (HAL_RCC_ClockConfig(&RCC_ClkInitStruct, FLASH_LATENCY_1) != HAL_OK) {
		Error_Handler();
	}
	PeriphClkInit.PeriphClockSelection = RCC_PERIPHCLK_USB
			| RCC_PERIPHCLK_USART1 | RCC_PERIPHCLK_I2C1 | RCC_PERIPHCLK_TIM1
			| RCC_PERIPHCLK_TIM8 | RCC_PERIPHCLK_ADC12;
	PeriphClkInit.Usart1ClockSelection = RCC_USART1CLKSOURCE_PCLK2;
	PeriphClkInit.Adc12ClockSelection = RCC_ADC12PLLCLK_DIV1;
	PeriphClkInit.I2c1ClockSelection = RCC_I2C1CLKSOURCE_HSI;
	PeriphClkInit.USBClockSelection = RCC_USBCLKSOURCE_PLL;
	PeriphClkInit.Tim1ClockSelection = RCC_TIM1CLK_HCLK;
	PeriphClkInit.Tim8ClockSelection = RCC_TIM8CLK_HCLK;
	if (HAL_RCCEx_PeriphCLKConfig(&PeriphClkInit) != HAL_OK) {
		Error_Handler();
	}
}

static void MX_ADC1_Init(void) {

	ADC_MultiModeTypeDef multimode = { 0 };
	ADC_ChannelConfTypeDef sConfig = { 0 };

	/** Common config
	 */
	hadc1.Instance = ADC1;
	hadc1.Init.ClockPrescaler = ADC_CLOCK_ASYNC_DIV1;
	hadc1.Init.Resolution = ADC_RESOLUTION_12B;
	hadc1.Init.ScanConvMode = ADC_SCAN_DISABLE;
	hadc1.Init.ContinuousConvMode = DISABLE;
	hadc1.Init.DiscontinuousConvMode = DISABLE;
	hadc1.Init.ExternalTrigConvEdge = ADC_EXTERNALTRIGCONVEDGE_NONE;
	hadc1.Init.ExternalTrigConv = ADC_SOFTWARE_START;
	hadc1.Init.DataAlign = ADC_DATAALIGN_RIGHT;
	hadc1.Init.NbrOfConversion = 1;
	hadc1.Init.DMAContinuousRequests = DISABLE;
	hadc1.Init.EOCSelection = ADC_EOC_SINGLE_CONV;
	hadc1.Init.LowPowerAutoWait = DISABLE;
	hadc1.Init.Overrun = ADC_OVR_DATA_OVERWRITTEN;
	if (HAL_ADC_Init(&hadc1) != HAL_OK) {
		Error_Handler();
	}

	/** Configure the ADC multi-mode
	 */
	multimode.Mode = ADC_MODE_INDEPENDENT;
	if (HAL_ADCEx_MultiModeConfigChannel(&hadc1, &multimode) != HAL_OK) {
		Error_Handler();
	}

	/** Configure Regular Channel
	 */
	sConfig.Channel = ADC_CHANNEL_2;
	sConfig.Rank = ADC_REGULAR_RANK_1;
	sConfig.SingleDiff = ADC_SINGLE_ENDED;
	sConfig.SamplingTime = ADC_SAMPLETIME_181CYCLES_5;
	sConfig.OffsetNumber = ADC_OFFSET_NONE;
	sConfig.Offset = 0;
	if (HAL_ADC_ConfigChannel(&hadc1, &sConfig) != HAL_OK) {
		Error_Handler();
	}

}

static void MX_I2C1_Init(void) {

	hi2c1.Instance = I2C1;
	hi2c1.Init.Timing = 0x2000090E;
	hi2c1.Init.OwnAddress1 = 0;
	hi2c1.Init.AddressingMode = I2C_ADDRESSINGMODE_7BIT;
	hi2c1.Init.DualAddressMode = I2C_DUALADDRESS_DISABLE;
	hi2c1.Init.OwnAddress2 = 0;
	hi2c1.Init.OwnAddress2Masks = I2C_OA2_NOMASK;
	hi2c1.Init.GeneralCallMode = I2C_GENERALCALL_DISABLE;
	hi2c1.Init.NoStretchMode = I2C_NOSTRETCH_DISABLE;
	if (HAL_I2C_Init(&hi2c1) != HAL_OK) {
		Error_Handler();
	}

	/** Configure Analogue filter
	 */
	if (HAL_I2CEx_ConfigAnalogFilter(&hi2c1, I2C_ANALOGFILTER_ENABLE)
			!= HAL_OK) {
		Error_Handler();
	}

	/** Configure Digital filter
	 */
	if (HAL_I2CEx_ConfigDigitalFilter(&hi2c1, 0) != HAL_OK) {
		Error_Handler();
	}

}

static void MX_SPI1_Init(void) {

	/* SPI1 parameter configuration*/
	hspi1.Instance = SPI1;
	hspi1.Init.Mode = SPI_MODE_MASTER;
	hspi1.Init.Direction = SPI_DIRECTION_2LINES;
	hspi1.Init.DataSize = SPI_DATASIZE_4BIT;
	hspi1.Init.CLKPolarity = SPI_POLARITY_LOW;
	hspi1.Init.CLKPhase = SPI_PHASE_1EDGE;
	hspi1.Init.NSS = SPI_NSS_SOFT;
	hspi1.Init.BaudRatePrescaler = SPI_BAUDRATEPRESCALER_4;
	hspi1.Init.FirstBit = SPI_FIRSTBIT_MSB;
	hspi1.Init.TIMode = SPI_TIMODE_DISABLE;
	hspi1.Init.CRCCalculation = SPI_CRCCALCULATION_DISABLE;
	hspi1.Init.CRCPolynomial = 7;
	hspi1.Init.CRCLength = SPI_CRC_LENGTH_DATASIZE;
	hspi1.Init.NSSPMode = SPI_NSS_PULSE_ENABLE;
	if (HAL_SPI_Init(&hspi1) != HAL_OK) {
		Error_Handler();
	}

}

static void MX_TIM1_Init(void) {

	TIM_ClockConfigTypeDef sClockSourceConfig = { 0 };
	TIM_MasterConfigTypeDef sMasterConfig = { 0 };
	TIM_OC_InitTypeDef sConfigOC = { 0 };
	TIM_BreakDeadTimeConfigTypeDef sBreakDeadTimeConfig = { 0 };

	htim1.Instance = TIM1;
	htim1.Init.Prescaler = 47;
	htim1.Init.CounterMode = TIM_COUNTERMODE_UP;
	htim1.Init.Period = 1000 - 1;
	htim1.Init.ClockDivision = TIM_CLOCKDIVISION_DIV1;
	htim1.Init.RepetitionCounter = 0;
	htim1.Init.AutoReloadPreload = TIM_AUTORELOAD_PRELOAD_DISABLE;
	if (HAL_TIM_Base_Init(&htim1) != HAL_OK) {
		Error_Handler();
	}
	sClockSourceConfig.ClockSource = TIM_CLOCKSOURCE_INTERNAL;
	if (HAL_TIM_ConfigClockSource(&htim1, &sClockSourceConfig) != HAL_OK) {
		Error_Handler();
	}
	if (HAL_TIM_PWM_Init(&htim1) != HAL_OK) {
		Error_Handler();
	}
	sMasterConfig.MasterOutputTrigger = TIM_TRGO_RESET;
	sMasterConfig.MasterOutputTrigger2 = TIM_TRGO2_RESET;
	sMasterConfig.MasterSlaveMode = TIM_MASTERSLAVEMODE_DISABLE;
	if (HAL_TIMEx_MasterConfigSynchronization(&htim1, &sMasterConfig)
			!= HAL_OK) {
		Error_Handler();
	}
	sConfigOC.OCMode = TIM_OCMODE_PWM1;
	sConfigOC.Pulse = 0;
	sConfigOC.OCPolarity = TIM_OCPOLARITY_HIGH;
	sConfigOC.OCNPolarity = TIM_OCNPOLARITY_HIGH;
	sConfigOC.OCFastMode = TIM_OCFAST_DISABLE;
	sConfigOC.OCIdleState = TIM_OCIDLESTATE_RESET;
	sConfigOC.OCNIdleState = TIM_OCNIDLESTATE_RESET;
	if (HAL_TIM_PWM_ConfigChannel(&htim1, &sConfigOC, TIM_CHANNEL_1)
			!= HAL_OK) {
		Error_Handler();
	}
	if (HAL_TIM_PWM_ConfigChannel(&htim1, &sConfigOC, TIM_CHANNEL_2)
			!= HAL_OK) {
		Error_Handler();
	}
	if (HAL_TIM_PWM_ConfigChannel(&htim1, &sConfigOC, TIM_CHANNEL_3)
			!= HAL_OK) {
		Error_Handler();
	}
	if (HAL_TIM_PWM_ConfigChannel(&htim1, &sConfigOC, TIM_CHANNEL_4)
			!= HAL_OK) {
		Error_Handler();
	}
	sBreakDeadTimeConfig.OffStateRunMode = TIM_OSSR_DISABLE;
	sBreakDeadTimeConfig.OffStateIDLEMode = TIM_OSSI_DISABLE;
	sBreakDeadTimeConfig.LockLevel = TIM_LOCKLEVEL_OFF;
	sBreakDeadTimeConfig.DeadTime = 0;
	sBreakDeadTimeConfig.BreakState = TIM_BREAK_DISABLE;
	sBreakDeadTimeConfig.BreakPolarity = TIM_BREAKPOLARITY_HIGH;
	sBreakDeadTimeConfig.BreakFilter = 0;
	sBreakDeadTimeConfig.Break2State = TIM_BREAK2_DISABLE;
	sBreakDeadTimeConfig.Break2Polarity = TIM_BREAK2POLARITY_HIGH;
	sBreakDeadTimeConfig.Break2Filter = 0;
	sBreakDeadTimeConfig.AutomaticOutput = TIM_AUTOMATICOUTPUT_DISABLE;
	if (HAL_TIMEx_ConfigBreakDeadTime(&htim1, &sBreakDeadTimeConfig)
			!= HAL_OK) {
		Error_Handler();
	}
	HAL_TIM_MspPostInit(&htim1);

}

static void MX_TIM2_Init(void) {

	TIM_ClockConfigTypeDef sClockSourceConfig = { 0 };
	TIM_MasterConfigTypeDef sMasterConfig = { 0 };
	TIM_OC_InitTypeDef sConfigOC = { 0 };

	htim2.Instance = TIM2;
	htim2.Init.Prescaler = 47;
	htim2.Init.CounterMode = TIM_COUNTERMODE_UP;
	htim2.Init.Period = 999;
	htim2.Init.ClockDivision = TIM_CLOCKDIVISION_DIV1;
	htim2.Init.AutoReloadPreload = TIM_AUTORELOAD_PRELOAD_DISABLE;
	if (HAL_TIM_Base_Init(&htim2) != HAL_OK) {
		Error_Handler();
	}
	sClockSourceConfig.ClockSource = TIM_CLOCKSOURCE_INTERNAL;
	if (HAL_TIM_ConfigClockSource(&htim2, &sClockSourceConfig) != HAL_OK) {
		Error_Handler();
	}
	if (HAL_TIM_PWM_Init(&htim2) != HAL_OK) {
		Error_Handler();
	}
	sMasterConfig.MasterOutputTrigger = TIM_TRGO_RESET;
	sMasterConfig.MasterSlaveMode = TIM_MASTERSLAVEMODE_DISABLE;
	if (HAL_TIMEx_MasterConfigSynchronization(&htim2, &sMasterConfig)
			!= HAL_OK) {
		Error_Handler();
	}
	sConfigOC.OCMode = TIM_OCMODE_PWM1;
	sConfigOC.Pulse = 0;
	sConfigOC.OCPolarity = TIM_OCPOLARITY_HIGH;
	sConfigOC.OCFastMode = TIM_OCFAST_DISABLE;
	if (HAL_TIM_PWM_ConfigChannel(&htim2, &sConfigOC, TIM_CHANNEL_2)
			!= HAL_OK) {
		Error_Handler();
	}
	if (HAL_TIM_PWM_ConfigChannel(&htim2, &sConfigOC, TIM_CHANNEL_3)
			!= HAL_OK) {
		Error_Handler();
	}
	if (HAL_TIM_PWM_ConfigChannel(&htim2, &sConfigOC, TIM_CHANNEL_4)
			!= HAL_OK) {
		Error_Handler();
	}
	HAL_TIM_MspPostInit(&htim2);

}

static void MX_TIM3_Init(void) {

	TIM_ClockConfigTypeDef sClockSourceConfig = { 0 };
	TIM_MasterConfigTypeDef sMasterConfig = { 0 };

	htim3.Instance = TIM3;
	htim3.Init.Prescaler = 0;
	htim3.Init.CounterMode = TIM_COUNTERMODE_UP;
	htim3.Init.Period = 65535;
	htim3.Init.ClockDivision = TIM_CLOCKDIVISION_DIV1;
	htim3.Init.AutoReloadPreload = TIM_AUTORELOAD_PRELOAD_DISABLE;
	if (HAL_TIM_Base_Init(&htim3) != HAL_OK) {
		Error_Handler();
	}
	sClockSourceConfig.ClockSource = TIM_CLOCKSOURCE_INTERNAL;
	if (HAL_TIM_ConfigClockSource(&htim3, &sClockSourceConfig) != HAL_OK) {
		Error_Handler();
	}
	sMasterConfig.MasterOutputTrigger = TIM_TRGO_RESET;
	sMasterConfig.MasterSlaveMode = TIM_MASTERSLAVEMODE_DISABLE;
	if (HAL_TIMEx_MasterConfigSynchronization(&htim3, &sMasterConfig)
			!= HAL_OK) {
		Error_Handler();
	}

}

static void MX_TIM4_Init(void) {

	TIM_ClockConfigTypeDef sClockSourceConfig = { 0 };
	TIM_MasterConfigTypeDef sMasterConfig = { 0 };
	TIM_OC_InitTypeDef sConfigOC = { 0 };

	htim4.Instance = TIM4;
	htim4.Init.Prescaler = 0;
	htim4.Init.CounterMode = TIM_COUNTERMODE_UP;
	htim4.Init.Period = 65535;
	htim4.Init.ClockDivision = TIM_CLOCKDIVISION_DIV1;
	htim4.Init.AutoReloadPreload = TIM_AUTORELOAD_PRELOAD_DISABLE;
	if (HAL_TIM_Base_Init(&htim4) != HAL_OK) {
		Error_Handler();
	}
	sClockSourceConfig.ClockSource = TIM_CLOCKSOURCE_INTERNAL;
	if (HAL_TIM_ConfigClockSource(&htim4, &sClockSourceConfig) != HAL_OK) {
		Error_Handler();
	}
	if (HAL_TIM_PWM_Init(&htim4) != HAL_OK) {
		Error_Handler();
	}
	sMasterConfig.MasterOutputTrigger = TIM_TRGO_RESET;
	sMasterConfig.MasterSlaveMode = TIM_MASTERSLAVEMODE_DISABLE;
	if (HAL_TIMEx_MasterConfigSynchronization(&htim4, &sMasterConfig)
			!= HAL_OK) {
		Error_Handler();
	}
	sConfigOC.OCMode = TIM_OCMODE_PWM1;
	sConfigOC.Pulse = 0;
	sConfigOC.OCPolarity = TIM_OCPOLARITY_HIGH;
	sConfigOC.OCFastMode = TIM_OCFAST_DISABLE;
	if (HAL_TIM_PWM_ConfigChannel(&htim4, &sConfigOC, TIM_CHANNEL_3)
			!= HAL_OK) {
		Error_Handler();
	}
	HAL_TIM_MspPostInit(&htim4);

}

static void MX_TIM7_Init(void) {

	TIM_MasterConfigTypeDef sMasterConfig = { 0 };

	htim7.Instance = TIM7;
	htim7.Init.Prescaler = 48 - 1;
	htim7.Init.CounterMode = TIM_COUNTERMODE_UP;
	htim7.Init.Period = 100 - 1;
	htim7.Init.AutoReloadPreload = TIM_AUTORELOAD_PRELOAD_DISABLE;
	if (HAL_TIM_Base_Init(&htim7) != HAL_OK) {
		Error_Handler();
	}
	sMasterConfig.MasterOutputTrigger = TIM_TRGO_RESET;
	sMasterConfig.MasterSlaveMode = TIM_MASTERSLAVEMODE_DISABLE;
	if (HAL_TIMEx_MasterConfigSynchronization(&htim7, &sMasterConfig)
			!= HAL_OK) {
		Error_Handler();
	}

}

static void MX_TIM8_Init(void) {

	TIM_ClockConfigTypeDef sClockSourceConfig = { 0 };
	TIM_MasterConfigTypeDef sMasterConfig = { 0 };
	TIM_OC_InitTypeDef sConfigOC = { 0 };
	TIM_BreakDeadTimeConfigTypeDef sBreakDeadTimeConfig = { 0 };

	htim8.Instance = TIM8;
	htim8.Init.Prescaler = 47;
	htim8.Init.CounterMode = TIM_COUNTERMODE_UP;
	htim8.Init.Period = 999;
	htim8.Init.ClockDivision = TIM_CLOCKDIVISION_DIV1;
	htim8.Init.RepetitionCounter = 0;
	htim8.Init.AutoReloadPreload = TIM_AUTORELOAD_PRELOAD_DISABLE;
	if (HAL_TIM_Base_Init(&htim8) != HAL_OK) {
		Error_Handler();
	}
	sClockSourceConfig.ClockSource = TIM_CLOCKSOURCE_INTERNAL;
	if (HAL_TIM_ConfigClockSource(&htim8, &sClockSourceConfig) != HAL_OK) {
		Error_Handler();
	}
	if (HAL_TIM_PWM_Init(&htim8) != HAL_OK) {
		Error_Handler();
	}
	sMasterConfig.MasterOutputTrigger = TIM_TRGO_RESET;
	sMasterConfig.MasterOutputTrigger2 = TIM_TRGO2_RESET;
	sMasterConfig.MasterSlaveMode = TIM_MASTERSLAVEMODE_DISABLE;
	if (HAL_TIMEx_MasterConfigSynchronization(&htim8, &sMasterConfig)
			!= HAL_OK) {
		Error_Handler();
	}
	sConfigOC.OCMode = TIM_OCMODE_PWM1;
	sConfigOC.Pulse = 0;
	sConfigOC.OCPolarity = TIM_OCPOLARITY_HIGH;
	sConfigOC.OCNPolarity = TIM_OCNPOLARITY_HIGH;
	sConfigOC.OCFastMode = TIM_OCFAST_DISABLE;
	sConfigOC.OCIdleState = TIM_OCIDLESTATE_RESET;
	sConfigOC.OCNIdleState = TIM_OCNIDLESTATE_RESET;
	if (HAL_TIM_PWM_ConfigChannel(&htim8, &sConfigOC, TIM_CHANNEL_1)
			!= HAL_OK) {
		Error_Handler();
	}
	if (HAL_TIM_PWM_ConfigChannel(&htim8, &sConfigOC, TIM_CHANNEL_2)
			!= HAL_OK) {
		Error_Handler();
	}
	if (HAL_TIM_PWM_ConfigChannel(&htim8, &sConfigOC, TIM_CHANNEL_3)
			!= HAL_OK) {
		Error_Handler();
	}
	if (HAL_TIM_PWM_ConfigChannel(&htim8, &sConfigOC, TIM_CHANNEL_4)
			!= HAL_OK) {
		Error_Handler();
	}
	sBreakDeadTimeConfig.OffStateRunMode = TIM_OSSR_DISABLE;
	sBreakDeadTimeConfig.OffStateIDLEMode = TIM_OSSI_DISABLE;
	sBreakDeadTimeConfig.LockLevel = TIM_LOCKLEVEL_OFF;
	sBreakDeadTimeConfig.DeadTime = 0;
	sBreakDeadTimeConfig.BreakState = TIM_BREAK_DISABLE;
	sBreakDeadTimeConfig.BreakPolarity = TIM_BREAKPOLARITY_HIGH;
	sBreakDeadTimeConfig.BreakFilter = 0;
	sBreakDeadTimeConfig.Break2State = TIM_BREAK2_DISABLE;
	sBreakDeadTimeConfig.Break2Polarity = TIM_BREAK2POLARITY_HIGH;
	sBreakDeadTimeConfig.Break2Filter = 0;
	sBreakDeadTimeConfig.AutomaticOutput = TIM_AUTOMATICOUTPUT_DISABLE;
	if (HAL_TIMEx_ConfigBreakDeadTime(&htim8, &sBreakDeadTimeConfig)
			!= HAL_OK) {
		Error_Handler();
	}
	HAL_TIM_MspPostInit(&htim8);

}

static void MX_USART1_UART_Init(void) {

	huart1.Instance = USART1;
	huart1.Init.BaudRate = 9600;
	huart1.Init.WordLength = UART_WORDLENGTH_8B;
	huart1.Init.StopBits = UART_STOPBITS_1;
	huart1.Init.Parity = UART_PARITY_NONE;
	huart1.Init.Mode = UART_MODE_TX_RX;
	huart1.Init.HwFlowCtl = UART_HWCONTROL_NONE;
	huart1.Init.OverSampling = UART_OVERSAMPLING_16;
	huart1.Init.OneBitSampling = UART_ONE_BIT_SAMPLE_DISABLE;
	huart1.AdvancedInit.AdvFeatureInit = UART_ADVFEATURE_NO_INIT;
	if (HAL_UART_Init(&huart1) != HAL_OK) {
		Error_Handler();
	}

}

static void MX_USB_PCD_Init(void) {

	hpcd_USB_FS.Instance = USB;
	hpcd_USB_FS.Init.dev_endpoints = 8;
	hpcd_USB_FS.Init.speed = PCD_SPEED_FULL;
	hpcd_USB_FS.Init.phy_itface = PCD_PHY_EMBEDDED;
	hpcd_USB_FS.Init.low_power_enable = DISABLE;
	hpcd_USB_FS.Init.battery_charging_enable = DISABLE;
	if (HAL_PCD_Init(&hpcd_USB_FS) != HAL_OK) {
		Error_Handler();
	}

}

static void MX_GPIO_Init(void) {
	GPIO_InitTypeDef GPIO_InitStruct = { 0 };

	/* GPIO Ports Clock Enable */
	__HAL_RCC_GPIOE_CLK_ENABLE();
	__HAL_RCC_GPIOC_CLK_ENABLE();
	__HAL_RCC_GPIOF_CLK_ENABLE();
	__HAL_RCC_GPIOA_CLK_ENABLE();
	__HAL_RCC_GPIOB_CLK_ENABLE();
	__HAL_RCC_GPIOD_CLK_ENABLE();

	/*Configure GPIO pin Output Level */
	HAL_GPIO_WritePin(CS_I2C_SPI_GPIO_Port, CS_I2C_SPI_Pin, GPIO_PIN_RESET);

	/*Configure GPIO pin Output Level */
	HAL_GPIO_WritePin(GPIOC,
	GPIO_PIN_0 | GPIO_PIN_1 | GPIO_PIN_2 | GPIO_PIN_3, GPIO_PIN_RESET);

	/*Configure GPIO pin Output Level */
	HAL_GPIO_WritePin(GPIOB, GPIO_PIN_15, GPIO_PIN_RESET);

	/*Configure GPIO pin Output Level */
	HAL_GPIO_WritePin(GPIOD,
			GPIO_PIN_8 | GPIO_PIN_9 | GPIO_PIN_10 | GPIO_PIN_11 | GPIO_PIN_12
					| GPIO_PIN_13 | GPIO_PIN_6 | GPIO_PIN_7, GPIO_PIN_RESET);

	/*Configure GPIO pin : CS_I2C_SPI_Pin */
	GPIO_InitStruct.Pin = CS_I2C_SPI_Pin;
	GPIO_InitStruct.Mode = GPIO_MODE_OUTPUT_PP;
	GPIO_InitStruct.Pull = GPIO_NOPULL;
	GPIO_InitStruct.Speed = GPIO_SPEED_FREQ_LOW;
	HAL_GPIO_Init(CS_I2C_SPI_GPIO_Port, &GPIO_InitStruct);

	/*Configure GPIO pins : MEMS_INT3_Pin MEMS_INT4_Pin MEMS_INT2_Pin */
	GPIO_InitStruct.Pin = MEMS_INT3_Pin | MEMS_INT4_Pin | MEMS_INT2_Pin;
	GPIO_InitStruct.Mode = GPIO_MODE_EVT_RISING;
	GPIO_InitStruct.Pull = GPIO_NOPULL;
	HAL_GPIO_Init(GPIOE, &GPIO_InitStruct);

	/*Configure GPIO pins : PC0 PC1 PC2 PC3 */
	GPIO_InitStruct.Pin = GPIO_PIN_0 | GPIO_PIN_1 | GPIO_PIN_2 | GPIO_PIN_3;
	GPIO_InitStruct.Mode = GPIO_MODE_OUTPUT_PP;
	GPIO_InitStruct.Pull = GPIO_NOPULL;
	GPIO_InitStruct.Speed = GPIO_SPEED_FREQ_LOW;
	HAL_GPIO_Init(GPIOC, &GPIO_InitStruct);

	/*Configure GPIO pin : PA0 */
	GPIO_InitStruct.Pin = GPIO_PIN_0;
	GPIO_InitStruct.Mode = GPIO_MODE_IT_RISING;
	GPIO_InitStruct.Pull = GPIO_NOPULL;
	HAL_GPIO_Init(GPIOA, &GPIO_InitStruct);

	/*Configure GPIO pins : PE8 PE9 PE10 PE12
	 PE15 */
	GPIO_InitStruct.Pin = GPIO_PIN_8 | GPIO_PIN_9 | GPIO_PIN_10 | GPIO_PIN_12
			| GPIO_PIN_15;
	GPIO_InitStruct.Mode = GPIO_MODE_INPUT;
	GPIO_InitStruct.Pull = GPIO_NOPULL;
	HAL_GPIO_Init(GPIOE, &GPIO_InitStruct);

	/*Configure GPIO pins : PB12 PB13 */
	GPIO_InitStruct.Pin = GPIO_PIN_12 | GPIO_PIN_13;
	GPIO_InitStruct.Mode = GPIO_MODE_IT_RISING;
	GPIO_InitStruct.Pull = GPIO_PULLDOWN;
	HAL_GPIO_Init(GPIOB, &GPIO_InitStruct);

	/*Configure GPIO pin : PB15 */
	GPIO_InitStruct.Pin = GPIO_PIN_15;
	GPIO_InitStruct.Mode = GPIO_MODE_OUTPUT_PP;
	GPIO_InitStruct.Pull = GPIO_NOPULL;
	GPIO_InitStruct.Speed = GPIO_SPEED_FREQ_LOW;
	HAL_GPIO_Init(GPIOB, &GPIO_InitStruct);

	/*Configure GPIO pins : PD8 PD9 PD10 PD11
	 PD12 PD13 PD6 PD7 */
	GPIO_InitStruct.Pin = GPIO_PIN_8 | GPIO_PIN_9 | GPIO_PIN_10 | GPIO_PIN_11
			| GPIO_PIN_12 | GPIO_PIN_13 | GPIO_PIN_6 | GPIO_PIN_7;
	GPIO_InitStruct.Mode = GPIO_MODE_OUTPUT_PP;
	GPIO_InitStruct.Pull = GPIO_NOPULL;
	GPIO_InitStruct.Speed = GPIO_SPEED_FREQ_LOW;
	HAL_GPIO_Init(GPIOD, &GPIO_InitStruct);

	/* EXTI interrupt init*/
	HAL_NVIC_SetPriority(EXTI0_IRQn, 0, 0);
	HAL_NVIC_EnableIRQ(EXTI0_IRQn);

	HAL_NVIC_SetPriority(EXTI15_10_IRQn, 0, 0);
	HAL_NVIC_EnableIRQ(EXTI15_10_IRQn);

}

void Error_Handler(void) {
	__disable_irq();
	while (1) {
	}
}
